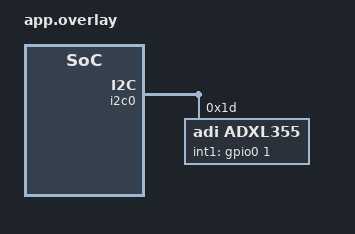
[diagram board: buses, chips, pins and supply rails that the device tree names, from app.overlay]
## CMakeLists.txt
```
# Copyright The Zephyr Project Contributors
# SPDX-License-Identifier: Apache-2.0

cmake_minimum_required(VERSION 3.28.0)
find_package(Zephyr REQUIRED HINTS $ENV{ZEPHYR_BASE})
project(adxl355)

target_include_directories(app PRIVATE ${ZEPHYR_BASE}/drivers/sensor/adi/adxl355)
target_sources(app PRIVATE src/main.c)
```

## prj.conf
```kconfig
# Copyright The Zephyr Project Contributors
# SPDX-License-Identifier: Apache-2.0

CONFIG_ZTEST=y
CONFIG_SENSOR=y
CONFIG_SENSOR_ASYNC_API=y
CONFIG_EMUL=y
```

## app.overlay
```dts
/*
 * Copyright The Zephyr Project Contributors
 *
 * SPDX-License-Identifier: Apache-2.0
 */

#include <zephyr/dt-bindings/gpio/gpio.h>
#include <zephyr/dt-bindings/sensor/adxl355.h>

&i2c0 {
	adxl355: adxl355@1d {
		compatible = "adi,adxl355";
		reg = <0x1d>;
		int1-gpios = <&gpio0 1 GPIO_ACTIVE_HIGH>;
		range = <ADXL355_DT_RANGE_2G>;
		fifo-watermark = <24>;
	};
};
```

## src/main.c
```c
/*
 * Copyright The Zephyr Project Contributors
 *
 * SPDX-License-Identifier: Apache-2.0
 */

#include <zephyr/drivers/sensor.h>
#include <zephyr/sys/byteorder.h>
#include <zephyr/ztest.h>

#include "adxl355.h"

/* Allowed error of a decoded value, in micro-m/s^2 */
#define TOLERANCE_UMS2 10

#define RAW_MAX 0x7ffff
#define RAW_MIN (-0x80000)

/* X axis marker of FIFO entries */
#define X_MARKER BIT(0)

static const struct sensor_decoder_api *decoder = SENSOR_DECODER_DT_GET(DT_NODELABEL(adxl355));

static const struct sensor_chan_spec chan_xyz = {SENSOR_CHAN_ACCEL_XYZ, 0};
static const struct sensor_chan_spec chan_axis[] = {
	{SENSOR_CHAN_ACCEL_X, 0},
	{SENSOR_CHAN_ACCEL_Y, 0},
	{SENSOR_CHAN_ACCEL_Z, 0},
};

static int32_t range_lsb_per_g(enum adxl355_range range)
{
	switch (range) {
	case ADXL355_RANGE_2G:
		return ADXL355_SENSITIVITY_2G;
	case ADXL355_RANGE_4G:
		return ADXL355_SENSITIVITY_4G;
	default:
		return ADXL355_SENSITIVITY_8G;
	}
}

static int64_t q31_to_micro(q31_t value, int8_t shift)
{
	return ((int64_t)value * 1000000) >> (31 - shift);
}

static void check_value(q31_t value, int8_t shift, int32_t raw, enum adxl355_range range)
{
	int64_t expected = (int64_t)raw * SENSOR_G / range_lsb_per_g(range);
	int64_t actual = q31_to_micro(value, shift);

	zassert_within(actual, expected, TOLERANCE_UMS2, "raw %d: got %lld, expected %lld", raw,
		       actual, expected);
}

/* Store a 20-bit sample left-justified in 3 big-endian bytes, as in the XDATA registers */
static void put_raw(uint8_t *dst, int32_t raw, uint8_t marker)
{
	sys_put_be24((((uint32_t)raw << 4) & GENMASK(23, 4)) | marker, dst);
}

static void check_unsupported(const uint8_t *buffer, struct sensor_chan_spec chan)
{
	struct sensor_three_axis_data out;
	size_t base_size;
	size_t frame_size;
	uint16_t frame_count;
	uint32_t fit = 0;

	zassert_equal(decoder->get_size_info(chan, &base_size, &frame_size), -ENOTSUP);
	zassert_equal(decoder->get_frame_count(buffer, chan, &frame_count), -ENOTSUP);
	zassert_equal(decoder->decode(buffer, chan, &fit, 1, &out), -ENOTSUP);
}

ZTEST(adxl355_decoder, test_size_info)
{
	size_t base_size;
	size_t frame_size;

	zassert_ok(decoder->get_size_info(chan_xyz, &base_size, &frame_size));
	zassert_equal(base_size, sizeof(struct sensor_three_axis_data));
	zassert_equal(frame_size, sizeof(struct sensor_three_axis_sample_data));

	for (int i = 0; i < ARRAY_SIZE(chan_axis); i++) {
		zassert_ok(decoder->get_size_info(chan_axis[i], &base_size, &frame_size));
		zassert_equal(base_size, sizeof(struct sensor_q31_data));
		zassert_equal(frame_size, sizeof(struct sensor_q31_sample_data));
	}
}

static void check_single(enum adxl355_range range, const int32_t raw[3])
{
	struct adxl355_sample sample = {
		.range = range,
	};
	const uint8_t *buffer = (const uint8_t *)&sample;
	struct sensor_three_axis_data out;
	struct sensor_q31_data out_1;
	uint16_t frame_count;
	uint64_t before_ns;
	uint64_t after_ns;
	uint32_t fit = 0;

	put_raw((uint8_t *)&sample.x, raw[0], 0);
	put_raw((uint8_t *)&sample.y, raw[1], 0);
	put_raw((uint8_t *)&sample.z, raw[2], 0);

	zassert_ok(decoder->get_frame_count(buffer, chan_xyz, &frame_count));
	zassert_equal(frame_count, 1);

	before_ns = k_ticks_to_ns_floor64(k_uptime_ticks());
	zassert_equal(decoder->decode(buffer, chan_xyz, &fit, 1, &out), 1);
	after_ns = k_ticks_to_ns_floor64(k_uptime_ticks());
	zassert_equal(out.header.reading_count, 1);
	zassert_between_inclusive(out.header.base_timestamp_ns, before_ns, after_ns);
	zassert_equal(out.readings[0].timestamp_delta, 0);
	zassert_equal(out.shift, 11);
	check_value(out.readings[0].x, out.shift, raw[0], range);
	check_value(out.readings[0].y, out.shift, raw[1], range);
	check_value(out.readings[0].z, out.shift, raw[2], range);
	zassert_equal(decoder->decode(buffer, chan_xyz, &fit, 1, &out), 0);

	for (int i = 0; i < ARRAY_SIZE(chan_axis); i++) {
		zassert_ok(decoder->get_frame_count(buffer, chan_axis[i], &frame_count));
		zassert_equal(frame_count, 1);

		fit = 0;
		zassert_equal(decoder->decode(buffer, chan_axis[i], &fit, 1, &out_1), 1);
		zassert_equal(out_1.header.reading_count, 1);
		zassert_equal(out_1.shift, 11);
		check_value(out_1.readings[0].value, out_1.shift, raw[i], range);
		zassert_equal(decoder->decode(buffer, chan_axis[i], &fit, 1, &out_1), 0);
	}

	zassert_false(decoder->has_trigger(buffer, SENSOR_TRIG_FIFO_WATERMARK));
	zassert_false(decoder->has_trigger(buffer, SENSOR_TRIG_FIFO_FULL));
}

ZTEST(adxl355_decoder, test_single_2g)
{
	/* 256000 LSB/g */
	check_single(ADXL355_RANGE_2G, (const int32_t[]){256000, -128000, 12345});
	check_single(ADXL355_RANGE_2G, (const int32_t[]){RAW_MAX, RAW_MIN, -1});
}

ZTEST(adxl355_decoder, test_single_4g)
{
	/* 128000 LSB/g */
	check_single(ADXL355_RANGE_4G, (const int32_t[]){128000, -256000, 1});
	check_single(ADXL355_RANGE_4G, (const int32_t[]){RAW_MAX, RAW_MIN, 0});
}

ZTEST(adxl355_decoder, test_single_8g)
{
	/* 64000 LSB/g */
	check_single(ADXL355_RANGE_8G, (const int32_t[]){64000, -64000, 448000});
	check_single(ADXL355_RANGE_8G, (const int32_t[]){RAW_MAX, RAW_MIN, -54321});
}

ZTEST(adxl355_decoder, test_single_invalid_range)
{
	struct adxl355_sample sample = {
		.range = 0,
	};
	const uint8_t *buffer = (const uint8_t *)&sample;
	struct sensor_three_axis_data out;
	uint16_t frame_count;
	uint32_t fit = 0;

	zassert_equal(decoder->get_frame_count(buffer, chan_xyz, &frame_count), -EINVAL);
	zassert_equal(decoder->decode(buffer, chan_xyz, &fit, 1, &out), -EINVAL);
}

ZTEST(adxl355_decoder, test_unsupported)
{
	struct adxl355_sample sample = {
		.range = ADXL355_RANGE_2G,
	};
	const uint8_t *buffer = (const uint8_t *)&sample;

	check_unsupported(buffer, (struct sensor_chan_spec){SENSOR_CHAN_GYRO_XYZ, 0});
	check_unsupported(buffer, (struct sensor_chan_spec){SENSOR_CHAN_DIE_TEMP, 0});
	check_unsupported(buffer, (struct sensor_chan_spec){SENSOR_CHAN_ACCEL_XYZ, 1});
	check_unsupported(buffer, (struct sensor_chan_spec){SENSOR_CHAN_ACCEL_X, 1});
}

#ifdef CONFIG_ADXL355_STREAM

#define MAX_FRAMES 4
#define LAST_TS_NS 10000000000ULL

static struct {
	struct adxl355_fifo_data hdr;
	/* Room for leading and trailing entries of incomplete frames */
	uint8_t entries[(MAX_FRAMES * 3 + 4) * 3];
} __packed fifo;

static int32_t frame_raw(int frame, int axis)
{
	static const int32_t base[] = {1000, -2000, 256000};

	return base[axis] + frame * 1111 * (axis + 1);
}

/*
 * Fill the FIFO buffer with lead entries of an incomplete frame, num_frames complete frames
 * and trail entries of another incomplete frame.
 */
static void fill_fifo(enum adxl355_odr odr, enum adxl355_range range, int lead, int num_frames,
		      int trail)
{
	int n = 0;

	memset(&fifo, 0, sizeof(fifo));
	fifo.hdr.is_fifo = 1;
	fifo.hdr.timestamp = LAST_TS_NS;
	fifo.hdr.status1 = ADXL355_STATUS_FIFO_FULL_MSK;
	fifo.hdr.range = range;
	fifo.hdr.accel_odr = odr;
	fifo.hdr.sample_set_size = 3;

	/* Y and Z entries of a frame read before */
	for (int i = 3 - lead; i < 3; i++) {
		put_raw(&fifo.entries[n++ * 3], -7, 0);
	}

	for (int f = 0; f < num_frames; f++) {
		for (int axis = 0; axis < 3; axis++) {
			put_raw(&fifo.entries[n++ * 3], frame_raw(f, axis),
				(axis == 0) ? X_MARKER : 0);
		}
	}

	for (int i = 0; i < trail; i++) {
		put_raw(&fifo.entries[n++ * 3], 7, (i == 0) ? X_MARKER : 0);
	}

	fifo.hdr.fifo_samples = n;
	fifo.hdr.fifo_byte_count = n * 3;
}

static void check_fifo(enum adxl355_range range, int num_frames, uint64_t period_ns)
{
	const uint8_t *buffer = (const uint8_t *)&fifo;
	struct {
		struct sensor_three_axis_data data;
		struct sensor_three_axis_sample_data extra[MAX_FRAMES - 1];
	} out;
	const struct sensor_three_axis_sample_data *readings = out.data.readings;
	struct sensor_three_axis_data out_1;
	struct sensor_q31_data out_axis;
	uint16_t frame_count;
	uint32_t fit = 0;

	zassert_ok(decoder->get_frame_count(buffer, chan_xyz, &frame_count));
	zassert_equal(frame_count, num_frames);

	/* All frames in one call */
	zassert_equal(decoder->decode(buffer, chan_xyz, &fit, MAX_FRAMES, &out), num_frames);
	zassert_equal(out.data.header.reading_count, num_frames);
	zassert_equal(out.data.header.base_timestamp_ns, LAST_TS_NS - (num_frames - 1) * period_ns);
	zassert_equal(out.data.shift, 11);

	for (int f = 0; f < num_frames; f++) {
		zassert_equal(readings[f].timestamp_delta, f * period_ns);
		check_value(readings[f].x, out.data.shift, frame_raw(f, 0), range);
		check_value(readings[f].y, out.data.shift, frame_raw(f, 1), range);
		check_value(readings[f].z, out.data.shift, frame_raw(f, 2), range);
	}

	zassert_equal(decoder->decode(buffer, chan_xyz, &fit, MAX_FRAMES, &out), 0);

	/* One frame per call */
	fit = 0;
	for (int f = 0; f < num_frames; f++) {
		zassert_equal(decoder->decode(buffer, chan_xyz, &fit, 1, &out_1), 1);
		zassert_equal(out_1.header.base_timestamp_ns + out_1.readings[0].timestamp_delta,
			      LAST_TS_NS - (num_frames - 1 - f) * period_ns);
		check_value(out_1.readings[0].x, out_1.shift, frame_raw(f, 0), range);
		check_value(out_1.readings[0].y, out_1.shift, frame_raw(f, 1), range);
		check_value(out_1.readings[0].z, out_1.shift, frame_raw(f, 2), range);
	}

	zassert_equal(decoder->decode(buffer, chan_xyz, &fit, 1, &out_1), 0);

	/* Single axes */
	for (int axis = 0; axis < ARRAY_SIZE(chan_axis); axis++) {
		zassert_ok(decoder->get_frame_count(buffer, chan_axis[axis], &frame_count));
		zassert_equal(frame_count, num_frames);

		fit = 0;
		for (int f = 0; f < num_frames; f++) {
			zassert_equal(decoder->decode(buffer, chan_axis[axis], &fit, 1, &out_axis),
				      1);
			zassert_equal(out_axis.header.base_timestamp_ns +
					      out_axis.readings[0].timestamp_delta,
				      LAST_TS_NS - (num_frames - 1 - f) * period_ns);
			check_value(out_axis.readings[0].value, out_axis.shift, frame_raw(f, axis),
				    range);
		}

		zassert_equal(decoder->decode(buffer, chan_axis[axis], &fit, 1, &out_axis), 0);
	}
}

ZTEST(adxl355_decoder, test_fifo)
{
	const uint8_t *buffer = (const uint8_t *)&fifo;

	fill_fifo(ADXL355_ODR_1000HZ, ADXL355_RANGE_2G, 0, 3, 0);
	check_fifo(ADXL355_RANGE_2G, 3, 1000000ULL);

	zassert_true(decoder->has_trigger(buffer, SENSOR_TRIG_FIFO_WATERMARK));
	zassert_true(decoder->has_trigger(buffer, SENSOR_TRIG_FIFO_FULL));
	zassert_false(decoder->has_trigger(buffer, SENSOR_TRIG_DATA_READY));

	fifo.hdr.status1 = ADXL355_STATUS_DATA_RDY_MSK;
	zassert_false(decoder->has_trigger(buffer, SENSOR_TRIG_FIFO_WATERMARK));
	zassert_false(decoder->has_trigger(buffer, SENSOR_TRIG_FIFO_FULL));

	check_unsupported(buffer, (struct sensor_chan_spec){SENSOR_CHAN_GYRO_XYZ, 0});
	check_unsupported(buffer, (struct sensor_chan_spec){SENSOR_CHAN_ACCEL_XYZ, 1});
}

ZTEST(adxl355_decoder, test_fifo_ranges)
{
	fill_fifo(ADXL355_ODR_4000HZ, ADXL355_RANGE_4G, 0, MAX_FRAMES, 0);
	check_fifo(ADXL355_RANGE_4G, MAX_FRAMES, 250000ULL);

	fill_fifo(ADXL355_ODR_4000HZ, ADXL355_RANGE_8G, 0, MAX_FRAMES, 0);
	check_fifo(ADXL355_RANGE_8G, MAX_FRAMES, 250000ULL);
}

ZTEST(adxl355_decoder, test_fifo_odr)
{
	/* The output data rate is 4000 Hz / 2^odr */
	for (int odr = ADXL355_ODR_4000HZ; odr <= ADXL355_ODR_3_906HZ; odr++) {
		fill_fifo(odr, ADXL355_RANGE_2G, 0, 3, 0);
		check_fifo(ADXL355_RANGE_2G, 3, 250000ULL << odr);
	}
}

ZTEST(adxl355_decoder, test_fifo_unaligned)
{
	/* The FIFO read starts at the Y or Z entry and ends within a frame */
	fill_fifo(ADXL355_ODR_500HZ, ADXL355_RANGE_2G, 2, 2, 2);
	check_fifo(ADXL355_RANGE_2G, 2, 2000000ULL);

	fill_fifo(ADXL355_ODR_500HZ, ADXL355_RANGE_2G, 1, 3, 1);
	check_fifo(ADXL355_RANGE_2G, 3, 2000000ULL);
}

ZTEST(adxl355_decoder, test_fifo_invalid)
{
	const uint8_t *buffer = (const uint8_t *)&fifo;
	struct sensor_three_axis_data out;
	uint16_t frame_count;
	uint32_t fit = 0;

	fill_fifo(ADXL355_ODR_3_906HZ + 1, ADXL355_RANGE_2G, 0, 1, 0);
	zassert_equal(decoder->get_frame_count(buffer, chan_xyz, &frame_count), -EINVAL);
	zassert_equal(decoder->decode(buffer, chan_xyz, &fit, 1, &out), -EINVAL);

	fill_fifo(ADXL355_ODR_4000HZ, 0, 0, 1, 0);
	zassert_equal(decoder->get_frame_count(buffer, chan_xyz, &frame_count), -EINVAL);
	zassert_equal(decoder->decode(buffer, chan_xyz, &fit, 1, &out), -EINVAL);
}

ZTEST(adxl355_decoder, test_fifo_empty)
{
	const uint8_t *buffer = (const uint8_t *)&fifo;
	struct sensor_three_axis_data out;
	uint16_t frame_count;
	uint32_t fit = 0;

	/* Buffer completed without data, for SENSOR_STREAM_DATA_NOP or _DROP */
	memset(&fifo, 0xff, sizeof(fifo));
	memset(&fifo.hdr, 0, sizeof(fifo.hdr));
	fifo.hdr.is_fifo = 1;
	fifo.hdr.timestamp = LAST_TS_NS;
	fifo.hdr.status1 = ADXL355_STATUS_FIFO_FULL_MSK;

	zassert_ok(decoder->get_frame_count(buffer, chan_xyz, &frame_count));
	zassert_equal(frame_count, 0);
	zassert_equal(decoder->decode(buffer, chan_xyz, &fit, 1, &out), 0);
	zassert_true(decoder->has_trigger(buffer, SENSOR_TRIG_FIFO_WATERMARK));
}

#endif /* CONFIG_ADXL355_STREAM */

ZTEST_SUITE(adxl355_decoder, NULL, NULL, NULL, NULL, NULL);
```
